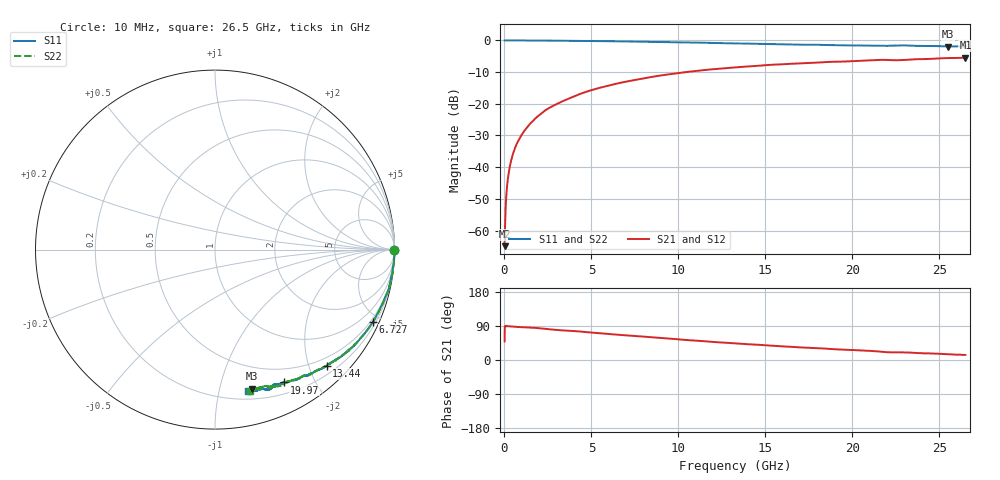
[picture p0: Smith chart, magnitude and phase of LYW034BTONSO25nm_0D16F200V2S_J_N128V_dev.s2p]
!Keysight Technologies,N5222B,MY61253708,A.15.00.15
!Date: Wednesday, June 19, 2024 09:55:53
!Correction: S11(C  2-Port  )
!S21(C  2-Port  )
!S12(C  2-Port  )
!S22(C  2-Port  )
!S2P File: Measurements: S11, S21, S12, S22:
# Hz S  RI  R 50
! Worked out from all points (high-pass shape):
!   2651 points, 10 MHz to 26.5 GHz, reference 50 ohm
!   highest |S21| = -5.40 dB at 26.5 GHz (marker M1); lowest = -64.9 dB at 20 MHz (marker M2)
!   |S21| within 3 dB of the highest: 13.52 GHz to end of sweep
!   lowest |S11| = -1.9 dB at 25.5 GHz (marker M3), VSWR 9.02, Z = 14.6 - j62.8 ohm
!   |S11| at or under -10 dB: nowhere
!   |S22| runs from -1.9 to 0.0 dB; largest |S21 - S12| = 0.0063
!   S11 on the Smith chart (normalised r, x): 10 MHz: open; 6.727 GHz: 0.36, -4.56; 13.44 GHz: 0.34, -2.31; 19.97 GHz: 0.33, -1.60; 26.5 GHz: 0.27, -1.23
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1e7  0.9989 -0.00286  0.000426 0.000492  -1.19e-05 0.00033  0.9983 -0.00144
1.999623e7  0.9997 -0.00349  1.32e-05 0.000566  3.34e-05 0.000779  1 -0.00335
8.996981e7  1 -0.00579  6.93e-06 0.00298  -5.04e-06 0.00297  0.9996 -0.00553
1.599434e8  1 -0.0113  6.51e-05 0.00528  6.21e-05 0.00531  0.9997 -0.0107
2.099245e8  0.9998 -0.0142  8.03e-05 0.00691  8.6e-05 0.00697  0.9995 -0.0136
2.699019e8  0.9998 -0.0183  0.000164 0.00892  0.000168 0.00895  0.9999 -0.0176
3.798604e8  0.9996 -0.026  0.000336 0.0125  0.000346 0.0126  0.9993 -0.0251
5.098113e8  0.999 -0.0339  0.000586 0.0168  0.000564 0.0169  0.9993 -0.0334
8.696755e8  0.998 -0.0576  0.0016 0.0285  0.00162 0.0286  0.9973 -0.0572
1.469449e9  0.9909 -0.0983  0.00377 0.0485  0.00377 0.0486  0.9934 -0.0947
2.349117e9  0.9821 -0.1523  0.0101 0.0782  0.0103 0.0786  0.9833 -0.1525
3.238781e9  0.9704 -0.2087  0.0212 0.1043  0.0215 0.105  0.9712 -0.208
4.428332e9  0.9433 -0.2791  0.038 0.1409  0.0384 0.1417  0.9446 -0.2768
6.727464e9  0.8799 -0.4023  0.0881 0.1976  0.0892 0.1982  0.8808 -0.4021
8.846664e9  0.8051 -0.5004  0.1438 0.2359  0.1453 0.2365  0.8059 -0.4995
1.3255e10  0.6301 -0.641  0.2706 0.2607  0.2728 0.2603  0.6327 -0.6399
1.344493e10  0.6227 -0.6477  0.2758 0.2604  0.2782 0.2595  0.6223 -0.6451
1.767333e10  0.4588 -0.7214  0.3769 0.2336  0.3801 0.2317  0.4678 -0.7187
1.997246e10  0.3847 -0.74  0.4215 0.2094  0.4241 0.2066  0.3964 -0.738
2.209166e10  0.3235 -0.7552  0.4599 0.1719  0.4614 0.1687  0.3162 -0.7607
2.550038e10  0.2043 -0.7739  0.5093 0.1358  0.5104 0.1349  0.2237 -0.7755
2.65e10  0.1847 -0.7876  0.5227 0.1244  0.522 0.1203  0.1973 -0.7852
